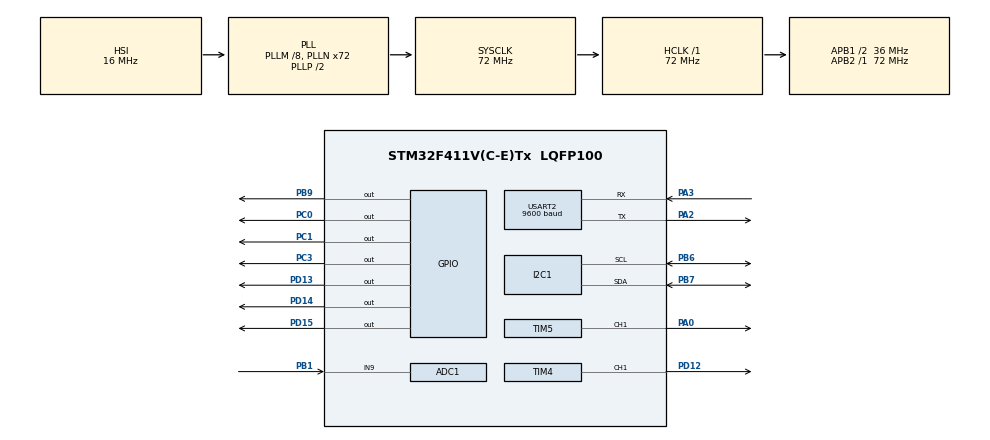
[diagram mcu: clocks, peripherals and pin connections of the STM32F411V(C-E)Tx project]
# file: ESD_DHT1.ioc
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ADC1.Channel-0\#ChannelRegularConversion=ADC_CHANNEL_9
ADC1.NbrOfConversionFlag=1
ADC1.Rank-0\#ChannelRegularConversion=1
ADC1.SamplingTime-0\#ChannelRegularConversion=ADC_SAMPLETIME_3CYCLES
ADC1.master=1
I2C1.I2C_Mode=I2C_Fast
Mcu.Family=STM32F4
Mcu.Name=STM32F411V(C-E)Tx
Mcu.Package=LQFP100
NVIC.PriorityGroup=NVIC_PRIORITYGROUP_4
NVIC.RTC_WKUP_IRQn=true\:0\:0\:false\:false\:true\:true\:true\:true
NVIC.TIM2_IRQn=true\:0\:0\:false\:false\:true\:true\:true\:true
NVIC.USART2_IRQn=true\:0\:0\:false\:false\:true\:true\:true\:true
PA0-WKUP.Signal=S_TIM5_CH1
PA13.Mode=Serial_Wire
PA13.Signal=SYS_JTMS-SWDIO
PA14.Mode=Serial_Wire
PA14.Signal=SYS_JTCK-SWCLK
PA2.Mode=Asynchronous
PA2.Signal=USART2_TX
PA3.GPIO_PuPd=GPIO_PULLUP
PA3.Mode=Asynchronous
PA3.Signal=USART2_RX
PB1.Signal=ADCx_IN9
PB6.Mode=I2C
PB6.Signal=I2C1_SCL
PB7.Mode=I2C
PB7.Signal=I2C1_SDA
PB9.Signal=GPIO_Output
PC0.Signal=GPIO_Output
PC1.Signal=GPIO_Output
PC3.Signal=GPIO_Output
PD12.Signal=S_TIM4_CH1
PD13.Signal=GPIO_Output
PD14.Signal=GPIO_Output
PD15.PinState=GPIO_PIN_SET
PD15.Signal=GPIO_Output
PH0\ -\ OSC_IN.Mode=HSE-External-Oscillator
PH0\ -\ OSC_IN.Signal=RCC_OSC_IN
PH1\ -\ OSC_OUT.Mode=HSE-External-Oscillator
PH1\ -\ OSC_OUT.Signal=RCC_OSC_OUT
ProjectManager.HeapSize=0x200
ProjectManager.StackSize=0x400
ProjectManager.TargetToolchain=STM32CubeIDE
RCC.48MHZClocksFreq_Value=36000000
RCC.AHBFreq_Value=72000000
RCC.APB1CLKDivider=RCC_HCLK_DIV2
RCC.APB1Freq_Value=36000000
RCC.APB1TimFreq_Value=72000000
RCC.APB2Freq_Value=72000000
RCC.APB2TimFreq_Value=72000000
RCC.CortexFreq_Value=72000000
RCC.HCLKFreq_Value=72000000
RCC.HSE_VALUE=25000000
RCC.HSI_VALUE=16000000
RCC.LSE_VALUE=32768
RCC.PLLM=8
RCC.PLLN=72
RCC.SYSCLKFreq_VALUE=72000000
RCC.SYSCLKSource=RCC_SYSCLKSOURCE_PLLCLK
RCC.VCOOutputFreq_Value=144000000
RTC.WakeUpCounter=0x500B
SH.ADCx_IN9.0=ADC1_IN9,IN9
SH.S_TIM4_CH1.0=TIM4_CH1,PWM Generation1 CH1
SH.S_TIM5_CH1.0=TIM5_CH1,PWM Generation1 CH1
TIM1.Prescaler=71
TIM2.Period=2000
TIM2.Prescaler=8000-1
TIM2.TIM_MasterOutputTrigger=TIM_TRGO_UPDATE
TIM3.Prescaler=72
TIM4.AutoReloadPreload=TIM_AUTORELOAD_PRELOAD_ENABLE
TIM4.Channel-PWM\ Generation1\ CH1=TIM_CHANNEL_1
TIM4.Period=511
TIM4.Prescaler=71
TIM4.Pulse-PWM\ Generation1\ CH1=0
TIM5.Channel-PWM\ Generation1\ CH1=TIM_CHANNEL_1
TIM5.Period=65535
TIM5.Prescaler=0
USART2.BaudRate=9600
USART2.VirtualMode=VM_ASYNC
VP_RTC_VS_RTC_Activate.Mode=RTC_Enabled
VP_RTC_VS_RTC_WakeUp_intern.Mode=WakeUp
VP_TIM1_VS_ClockSourceINT.Mode=Internal
VP_TIM2_VS_ClockSourceINT.Mode=Internal
VP_TIM3_VS_ClockSourceINT.Mode=Internal
VP_TIM4_VS_ClockSourceINT.Mode=Internal
VP_TIM5_VS_ClockSourceINT.Mode=Internal
board=custom

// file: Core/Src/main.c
/* USER CODE BEGIN Header */
/**
 ******************************************************************************
  MAIN function
 *
 * @File name (main.c of ESD PROJECT PROJECT: MOOD BASED AUTOMATION SYSTEM WITH
 * ENERGY OPTIMIZATION)
 * @File Description (-main function)
 * Initializing GPIOs, Timers, UART, I2C , ADC and RTC.UART_RxCpltCallback function is defined hereby for
 * receiving the commands inside the buffer.The mood system functio will handle the commands received from Bluetooth.
 * @Tools used	: STM32F411VET6
 * @Author Name (AYSWARIYA KANNAN & SHRINITHI VENKETESAN)
 * @Date (12/04/2022)
 *
 *
 ******************************************************************************
 * @attention
 *
 * Copyright (c) 2022 STMicroelectronics.
 * All rights reserved.
 *
 * This software is licensed under terms that can be found in the LICENSE file
 * in the root directory of this software component.
 * If no LICENSE file comes with this software, it is provided AS-IS.
 *
 ******************************************************************************
 */
/* USER CODE END Header */
#include "main.h"

/* USER CODE BEGIN Includes */

#include "dht11.h"
#include<stdio.h>
#include<string.h>
#include "SSD1306.h"
#include "fonts.h"
#include "FAN_ANIMATION.h"
#include "home_image.h"
#include "ldr.h"
#include "modeimages.h"
/* USER CODE END Includes */

ADC_HandleTypeDef hadc1;

I2C_HandleTypeDef hi2c1;

RTC_HandleTypeDef hrtc;

TIM_HandleTypeDef htim1;
TIM_HandleTypeDef htim2;
TIM_HandleTypeDef htim3;
TIM_HandleTypeDef htim4;
TIM_HandleTypeDef htim5;

UART_HandleTypeDef huart2;

void SystemClock_Config(void);
static void MX_GPIO_Init(void);
static void MX_TIM1_Init(void);
static void MX_TIM4_Init(void);
static void MX_TIM3_Init(void);
static void MX_TIM2_Init(void);
static void MX_USART2_UART_Init(void);
static void MX_I2C1_Init(void);
static void MX_TIM5_Init(void);
static void MX_ADC1_Init(void);
static void MX_RTC_Init(void);

/* USER CODE BEGIN 0 */
/**Macros DEF*************/

#define N1 (64)
#define N2 (68)
#define N3 (50)
#define N4 (20)
#define N5 (65)
#define N6 (45)
#define N7 (8)
#define N8 (30)
#define N9 (15)
#define N10 (66)
#define N11 (25)
#define N12 (12)
#define N13 (69)

#define FIVESEC (5000)
#define HUNSEC  (100)
#define BUFFERSIZE (60)
#define DEVADDRS (0x0A)
#define RTCTIME (0x500B)

/*** GLOBAL VARIABLES **********************************************************/
int flag=0;
int j,a;
int automode =0;
uint8_t rx;
char str1[BUFFERSIZE]={0};
float PWM1;
/***************************************************************************************/
/*
 * MOOD AUTOMATION function, which decides teh sequence of actions after receving any coomand through bluetooth.The set
 * of commands are: **"systemon" : for Auto mode
 *                  **"systemoff": for turning off all devices
 *                  **"sleep" : for sleep mode : fan speed normal and lights off
 *                  **"day" : for day mode : fan speed at maximum and lights off
 *                  **"work": for work mode : fan speed at high and lights on at maximum intensity
 *                  (ALL modes set with the assumption the climate of the place is warm and sunny during daytime and nominal
 *                  during night)
 *
 * Parameters: char str1[60]: buffer for storing bluetooth commands, which are processed here.
 *             float PWM1   : for controlling manual fan speed
 *
 * Return: NULL
 */
void mood_system(){
	a=0;
	HAL_Delay(N3);
	for(j=0;j<BUFFERSIZE;j++){

		if((str1[j]=='s')  &&  (str1[j+1]=='y')  &&  (str1[j+2]=='s')  &&  (str1[j+3]=='t')  &&  (str1[j+4]=='e') && (str1[j+5]=='m')  &&  (str1[j+6]=='o')  &&  (str1[j+7]=='n')){

			OLED_DrawBitmap(0,0,f1,N1,N1,1);
			OLED_UpdateScreen();
			OLED_Clear();
			OLED_DrawBitmap(0,0,f2,N1,N1,1);
			OLED_UpdateScreen();
			OLED_Clear();
			OLED_DrawBitmap(0,0,f3,N1,N1,1);
			OLED_UpdateScreen();
			OLED_Clear();
			OLED_DrawBitmap(0,0,f4,N1,N1,1);
			OLED_UpdateScreen();
			OLED_Clear();
			OLED_DrawBitmap(0,0,f5,N1,N1,1);
			OLED_UpdateScreen();
			OLED_Clear();
			OLED_DrawBitmap(0,0,f6,N1,N1,1);
			OLED_UpdateScreen();
			OLED_Clear();
			OLED_DrawBitmap(0,0,f7,N1,N1,1);
			OLED_UpdateScreen();
			OLED_Clear();
			OLED_DrawBitmap(0,0,f8,N1,N1,1);
			OLED_UpdateScreen();
			OLED_Clear();
			OLED_DrawBitmap(0,0,f1,N1,N1,1);
			OLED_UpdateScreen();
			OLED_Clear();
			OLED_DrawBitmap(0,0,f2,N1,N1,1);
			OLED_UpdateScreen();
			OLED_Clear();
			OLED_DrawBitmap(0,0,f3,N1,N1,1);
			OLED_UpdateScreen();
			OLED_Clear();
			OLED_DrawBitmap(0,0,f4,N1,N1,1);
			OLED_UpdateScreen();
			OLED_Clear();
			OLED_DrawBitmap(0,0,f5,N1,N1,1);
			OLED_UpdateScreen();
			OLED_Clear();
			OLED_DrawBitmap(0,0,f6,N1,N1,1);
			OLED_UpdateScreen();
			OLED_Clear();
			OLED_DrawBitmap(0,0,f7,N1,N1,1);
			OLED_UpdateScreen();
			OLED_Clear();
			OLED_DrawBitmap(0,0,f8,N1,N1,1);
			OLED_UpdateScreen();
			OLED_GotoXY (N5,N7); // goto 10, 10
			OLED_Puts ("SYSTEM ON", &Font_6x10, 1); // print Hello
			OLED_UpdateScreen(); // update screen
			OLED_GotoXY (N5,N8); // goto 10, 10
			OLED_Puts ("AUTO MODE", &Font_6x10, 1); // print Hello
			OLED_UpdateScreen();
            HAL_Delay(FIVESEC);
            OLED_Clear();

			fan_control_dht();
			ldr_pwm();
			for(j=0;j<BUFFERSIZE;j++){
				str1[j]=0;}
		}
		automode=1; //setting the auto mode active
	}

	for(j=0;j<BUFFERSIZE;j++){

		if((str1[j]=='s')  &&  (str1[j+1]=='y')  &&  (str1[j+2]=='s')  &&  (str1[j+3]=='t')  &&  (str1[j+4]=='e') && (str1[j+5]=='m')  &&  (str1[j+6]=='o')  &&  (str1[j+7]=='f') && (str1[j+8]=='f')){
			//HAL_Delay(1000);
			// HAL_GPIO_WritePin(GPIOD, GPIO_PIN_15,0);
			automode=0;
			__HAL_TIM_SET_COMPARE(&htim4, TIM_CHANNEL_1,0);
			OLED_Clear();
			OLED_GotoXY (N8,N7); // goto 10, 10
			OLED_Puts ("TURNING OFF ", &Font_6x10, 1); // print Hello
			OLED_UpdateScreen(); // update screen
		    OLED_DrawBitmap(N9,N4,off,N1,N3,1);
		    OLED_UpdateScreen();
			ldr_off();

			for(j=0;j<BUFFERSIZE;j++){str1[j]=0;}

		}}
	for(j=0;j<BUFFERSIZE;j++){
		if((str1[j]=='s')  &&  (str1[j+1]=='l')  &&  (str1[j+2]=='e')  &&  (str1[j+3]=='e')  &&  (str1[j+4]=='p')){
			automode=0;
			PWM1 = PWMODE1;
			__HAL_TIM_SET_COMPARE(&htim4, TIM_CHANNEL_1,PWM1*511);
			OLED_Clear();
			OLED_GotoXY (N10,N7); // goto 10, 10
			OLED_Puts ("SLEEP MODE", &Font_6x10, 1); // print Hello
			OLED_UpdateScreen(); // update screen
		    OLED_DrawBitmap(0,N12,zz,N1,N3,1);
			OLED_UpdateScreen();
			OLED_GotoXY (N10,N11); // goto 10, 10
			OLED_Puts ("Fan Normal", &Font_6x10, 1); // print Hello
			OLED_UpdateScreen();
			OLED_GotoXY (N10,N6); // goto 10, 10
			OLED_Puts ("Light OFF", &Font_6x10, 1); // print Hello
			OLED_UpdateScreen();
			ldr_sleep();
			for(j=0;j<BUFFERSIZE;j++){str1[j]=0;}

		}}
	for(j=0;j<BUFFERSIZE;j++){
		if((str1[j]=='d')  &&  (str1[j+1]=='a')  &&  (str1[j+2]=='y')){
			automode=0;
			PWM1 =PWMODE3;
			__HAL_TIM_SET_COMPARE(&htim4, TIM_CHANNEL_1,PWM1*MAXPWM);
			OLED_Clear();
			OLED_GotoXY (N13,N7); // goto 10, 10
			OLED_Puts ("DAY MODE", &Font_6x10, 1); // print Hello
			OLED_UpdateScreen(); // update screen
			OLED_DrawBitmap(0,N12,sun,N1,N3,1);
			OLED_UpdateScreen();
			OLED_GotoXY (N2,N11); // goto 10, 10
			OLED_Puts ("Fan MAX", &Font_6x10, 1); // print Hello
			OLED_UpdateScreen();
			OLED_GotoXY (N2,N6); // goto 10, 10
			OLED_Puts ("Light OFF", &Font_6x10, 1); // print Hello
			OLED_UpdateScreen();
			ldr_off();

			for(j=0;j<BUFFERSIZE;j++){str1[j]=0;}
		}}
	for(j=0;j<BUFFERSIZE;j++){
		if((str1[j]=='w')  &&  (str1[j+1]=='o')  &&  (str1[j+2]=='r')  &&  (str1[j+3]=='k') ){
			automode=0;
			PWM1 = PWMODE2;
			__HAL_TIM_SET_COMPARE(&htim4, TIM_CHANNEL_1,PWM1*MAXPWM);
			OLED_Clear();
			OLED_GotoXY (N13,N7); // goto 10, 10
			OLED_Puts ("WORK MODE", &Font_6x10, 1); // print Hello
			OLED_UpdateScreen(); // update screen
			OLED_DrawBitmap(0,N12,work,N1,N3,1);
			OLED_UpdateScreen();
			OLED_GotoXY (N2,N11); // goto 10, 10
			OLED_Puts ("Fan HIGH", &Font_6x10, 1); // print Hello
			OLED_UpdateScreen();
			OLED_GotoXY (N2,N6); // goto 10, 10
			OLED_Puts ("Light ON", &Font_6x10, 1); // print Hello
			OLED_UpdateScreen();
			ldr_on();

			for(j=0;j<BUFFERSIZE;j++){str1[j]=0;}
		}}
}
/*
 * HAL_UART_RxCpltCallback called when UART interrupt received which will be triggered by bluetooth interface
 * when we send any commands. the command received through rx is stored in char str1[] and flag set to 1, indicating bluetooth
 * command received
 *
 * Parameters: char str1[] to store commands
 *             int flag to indicate bluetooth
 *             uint8_t rx data from UART Rx
 *
 * Return: NULL
 */
void HAL_UART_RxCpltCallback(UART_HandleTypeDef *huart)
{
	//HAL_ResumeTick();
	HAL_PWR_DisableSleepOnExit ();
	if(huart==&huart2)
	{
		if(rx == DEVADDRS){
			flag=1;
		}
		str1[a]=rx;
		a++;
	}
	HAL_UART_Receive_IT(&huart2,&rx,1);
}
/* USER CODE END 0 */

/*
 * Main function: Low power mode :sleep mode is enabled so
 *  **After initializing GPIO,TIMERS, UART,ADC,I2C,RTC and PWM,the system will go back to sleepmode.
 *  **WFI(wakeupfrom interrupt)enabled thus it will resume once any interrupt received.
 *  ** Also RTC enabled to wakeup core every 10 sec(which can be altered according to user)
 *
 * Parameters: int automode :to check if auto mode settings enabled, if enabled it will recollect data
 *             int flag : to know if bluetooth command received or not
 *
 * Return:  returns 1 is successful
 */
int main(void)
{

  /* MCU Configuration--------------------------------------------------------*/

  /* Reset of all peripherals, Initializes the Flash interface and the Systick. */
  HAL_Init();

  /* Configure the system clock */
  SystemClock_Config();

  /* Initialize all configured peripherals */
  MX_GPIO_Init();
  MX_TIM1_Init();
  MX_TIM4_Init();
  MX_TIM3_Init();
  MX_TIM2_Init();
  MX_USART2_UART_Init();
  MX_I2C1_Init();
  MX_TIM5_Init();
  MX_ADC1_Init();
  MX_RTC_Init();
  /* USER CODE BEGIN 2 */
	OLED_Init (); // initialize the display
	OLED_GotoXY (N5,N7); // goto 10, 10
	OLED_Puts ("MOOD", &Font_6x10, 1); // print Hello
	OLED_GotoXY (N5, N4);
	OLED_Puts ("BASED", &Font_6x10, 1);
	OLED_UpdateScreen(); // update screen
	OLED_GotoXY (N5, 35);
	OLED_Puts ("HOME", &Font_6x10, 1);
	OLED_UpdateScreen(); // update screen
	OLED_GotoXY (N5,N3);
	OLED_Puts ("AUTOMATION", &Font_6x10, 1);
	OLED_UpdateScreen(); // update screen
	OLED_DrawBitmap(0,N7,home,N1,N1,1);
	OLED_UpdateScreen(); // update screen
	HAL_Delay(FIVESEC);
	OLED_Clear();

	HAL_UART_Receive_IT(&huart2,&rx,1);
	HAL_TIM_Base_Start_IT(&htim2);

	HAL_TIM_Base_Start(&htim1);
	HAL_TIM_Base_Start(&htim3);
	HAL_TIM_PWM_Start(&htim4,TIM_CHANNEL_1);
	HAL_TIM_PWM_Start(&htim5, TIM_CHANNEL_1);

  /* USER CODE END 2 */

  /* Infinite loop */
  /* USER CODE BEGIN WHILE */
	while (1)
	{
		if(automode==1){

			fan_control_dht();
			ldr_pwm();}
		HAL_GPIO_WritePin(GPIOD, GPIO_PIN_13, 1);

		HAL_SuspendTick();

		HAL_GPIO_WritePin(GPIOD, GPIO_PIN_13, 0);  // Just to indicate that the sleep mode is activated

		HAL_RTCEx_SetWakeUpTimer_IT(&hrtc, RTCTIME, RTC_WAKEUPCLOCK_RTCCLK_DIV16);
		HAL_PWR_EnableSleepOnExit ();

		//	  Enter Sleep Mode , wake up is done once User push-button is pressed
		HAL_PWR_EnterSLEEPMode(PWR_MAINREGULATOR_ON, PWR_SLEEPENTRY_WFI);

		HAL_RTCEx_DeactivateWakeUpTimer(&hrtc);

		SystemClock_Config();

		//	  Resume Tick interrupt if disabled prior to sleep mode entry
		HAL_ResumeTick();

		for (int i=0; i<N4; i++)
		{
			HAL_GPIO_TogglePin(GPIOD, GPIO_PIN_13);
			HAL_Delay(HUNSEC);
		}

		if(flag==1)
		{
			mood_system();
			flag=0;}

    /* USER CODE END WHILE */

	}
}

void SystemClock_Config(void)
{
  RCC_OscInitTypeDef RCC_OscInitStruct = {0};
  RCC_ClkInitTypeDef RCC_ClkInitStruct = {0};

  /** Configure the main internal regulator output voltage
  */
  __HAL_RCC_PWR_CLK_ENABLE();
  __HAL_PWR_VOLTAGESCALING_CONFIG(PWR_REGULATOR_VOLTAGE_SCALE1);

  /** Initializes the RCC Oscillators according to the specified parameters
  * in the RCC_OscInitTypeDef structure.
  */
  RCC_OscInitStruct.OscillatorType = RCC_OSCILLATORTYPE_HSI|RCC_OSCILLATORTYPE_LSI;
  RCC_OscInitStruct.HSIState = RCC_HSI_ON;
  RCC_OscInitStruct.HSICalibrationValue = RCC_HSICALIBRATION_DEFAULT;
  RCC_OscInitStruct.LSIState = RCC_LSI_ON;
  RCC_OscInitStruct.PLL.PLLState = RCC_PLL_ON;
  RCC_OscInitStruct.PLL.PLLSource = RCC_PLLSOURCE_HSI;
  RCC_OscInitStruct.PLL.PLLM = 8;
  RCC_OscInitStruct.PLL.PLLN = 72;
  RCC_OscInitStruct.PLL.PLLP = RCC_PLLP_DIV2;
  RCC_OscInitStruct.PLL.PLLQ = 4;
  if (HAL_RCC_OscConfig(&RCC_OscInitStruct) != HAL_OK)
  {
    Error_Handler();
  }

  /** Initializes the CPU, AHB and APB buses clocks
  */
  RCC_ClkInitStruct.ClockType = RCC_CLOCKTYPE_HCLK|RCC_CLOCKTYPE_SYSCLK
                              |RCC_CLOCKTYPE_PCLK1|RCC_CLOCKTYPE_PCLK2;
  RCC_ClkInitStruct.SYSCLKSource = RCC_SYSCLKSOURCE_PLLCLK;
  RCC_ClkInitStruct.AHBCLKDivider = RCC_SYSCLK_DIV1;
  RCC_ClkInitStruct.APB1CLKDivider = RCC_HCLK_DIV2;
  RCC_ClkInitStruct.APB2CLKDivider = RCC_HCLK_DIV1;

  if (HAL_RCC_ClockConfig(&RCC_ClkInitStruct, FLASH_LATENCY_2) != HAL_OK)
  {
    Error_Handler();
  }
}

static void MX_ADC1_Init(void)
{

  ADC_ChannelConfTypeDef sConfig = {0};

  /** Configure the global features of the ADC (Clock, Resolution, Data Alignment and number of conversion)
  */
  hadc1.Instance = ADC1;
  hadc1.Init.ClockPrescaler = ADC_CLOCK_SYNC_PCLK_DIV2;
  hadc1.Init.Resolution = ADC_RESOLUTION_12B;
  hadc1.Init.ScanConvMode = DISABLE;
  hadc1.Init.ContinuousConvMode = DISABLE;
  hadc1.Init.DiscontinuousConvMode = DISABLE;
  hadc1.Init.ExternalTrigConvEdge = ADC_EXTERNALTRIGCONVEDGE_NONE;
  hadc1.Init.ExternalTrigConv = ADC_SOFTWARE_START;
  hadc1.Init.DataAlign = ADC_DATAALIGN_RIGHT;
  hadc1.Init.NbrOfConversion = 1;
  hadc1.Init.DMAContinuousRequests = DISABLE;
  hadc1.Init.EOCSelection = ADC_EOC_SINGLE_CONV;
  if (HAL_ADC_Init(&hadc1) != HAL_OK)
  {
    Error_Handler();
  }

  /** Configure for the selected ADC regular channel its corresponding rank in the sequencer and its sample time.
  */
  sConfig.Channel = ADC_CHANNEL_9;
  sConfig.Rank = 1;
  sConfig.SamplingTime = ADC_SAMPLETIME_3CYCLES;
  if (HAL_ADC_ConfigChannel(&hadc1, &sConfig) != HAL_OK)
  {
    Error_Handler();
  }

}

static void MX_I2C1_Init(void)
{

  hi2c1.Instance = I2C1;
  hi2c1.Init.ClockSpeed = 400000;
  hi2c1.Init.DutyCycle = I2C_DUTYCYCLE_2;
  hi2c1.Init.OwnAddress1 = 0;
  hi2c1.Init.AddressingMode = I2C_ADDRESSINGMODE_7BIT;
  hi2c1.Init.DualAddressMode = I2C_DUALADDRESS_DISABLE;
  hi2c1.Init.OwnAddress2 = 0;
  hi2c1.Init.GeneralCallMode = I2C_GENERALCALL_DISABLE;
  hi2c1.Init.NoStretchMode = I2C_NOSTRETCH_DISABLE;
  if (HAL_I2C_Init(&hi2c1) != HAL_OK)
  {
    Error_Handler();
  }

}

static void MX_RTC_Init(void)
{

  RTC_TimeTypeDef sTime = {0};
  RTC_DateTypeDef sDate = {0};

  /** Initialize RTC Only
  */
  hrtc.Instance = RTC;
  hrtc.Init.HourFormat = RTC_HOURFORMAT_24;
  hrtc.Init.AsynchPrediv = 127;
  hrtc.Init.SynchPrediv = 255;
  hrtc.Init.OutPut = RTC_OUTPUT_DISABLE;
  hrtc.Init.OutPutPolarity = RTC_OUTPUT_POLARITY_HIGH;
  hrtc.Init.OutPutType = RTC_OUTPUT_TYPE_OPENDRAIN;
  if (HAL_RTC_Init(&hrtc) != HAL_OK)
  {
    Error_Handler();
  }

  /** Initialize RTC and set the Time and Date
  */
  sTime.Hours = 0x0;
  sTime.Minutes = 0x0;
  sTime.Seconds = 0x0;
  sTime.DayLightSaving = RTC_DAYLIGHTSAVING_NONE;
  sTime.StoreOperation = RTC_STOREOPERATION_RESET;
  if (HAL_RTC_SetTime(&hrtc, &sTime, RTC_FORMAT_BCD) != HAL_OK)
  {
    Error_Handler();
  }
  sDate.WeekDay = RTC_WEEKDAY_MONDAY;
  sDate.Month = RTC_MONTH_JANUARY;
  sDate.Date = 0x1;
  sDate.Year = 0x0;

  if (HAL_RTC_SetDate(&hrtc, &sDate, RTC_FORMAT_BCD) != HAL_OK)
  {
    Error_Handler();
  }

  /** Enable the WakeUp
  */
  if (HAL_RTCEx_SetWakeUpTimer_IT(&hrtc, 0x500B, RTC_WAKEUPCLOCK_RTCCLK_DIV16) != HAL_OK)
  {
    Error_Handler();
  }

}

static void MX_TIM1_Init(void)
{

  TIM_ClockConfigTypeDef sClockSourceConfig = {0};
  TIM_MasterConfigTypeDef sMasterConfig = {0};

  htim1.Instance = TIM1;
  htim1.Init.Prescaler = 71;
  htim1.Init.CounterMode = TIM_COUNTERMODE_UP;
  htim1.Init.Period = 65535;
  htim1.Init.ClockDivision = TIM_CLOCKDIVISION_DIV1;
  htim1.Init.RepetitionCounter = 0;
  htim1.Init.AutoReloadPreload = TIM_AUTORELOAD_PRELOAD_DISABLE;
  if (HAL_TIM_Base_Init(&htim1) != HAL_OK)
  {
    Error_Handler();
  }
  sClockSourceConfig.ClockSource = TIM_CLOCKSOURCE_INTERNAL;
  if (HAL_TIM_ConfigClockSource(&htim1, &sClockSourceConfig) != HAL_OK)
  {
    Error_Handler();
  }
  sMasterConfig.MasterOutputTrigger = TIM_TRGO_RESET;
  sMasterConfig.MasterSlaveMode = TIM_MASTERSLAVEMODE_DISABLE;
  if (HAL_TIMEx_MasterConfigSynchronization(&htim1, &sMasterConfig) != HAL_OK)
  {
    Error_Handler();
  }

}

static void MX_TIM2_Init(void)
{

  TIM_ClockConfigTypeDef sClockSourceConfig = {0};
  TIM_MasterConfigTypeDef sMasterConfig = {0};

  htim2.Instance = TIM2;
  htim2.Init.Prescaler = 8000-1;
  htim2.Init.CounterMode = TIM_COUNTERMODE_UP;
  htim2.Init.Period = 2000;
  htim2.Init.ClockDivision = TIM_CLOCKDIVISION_DIV1;
  htim2.Init.AutoReloadPreload = TIM_AUTORELOAD_PRELOAD_DISABLE;
  if (HAL_TIM_Base_Init(&htim2) != HAL_OK)
  {
    Error_Handler();
  }
  sClockSourceConfig.ClockSource = TIM_CLOCKSOURCE_INTERNAL;
  if (HAL_TIM_ConfigClockSource(&htim2, &sClockSourceConfig) != HAL_OK)
  {
    Error_Handler();
  }
  sMasterConfig.MasterOutputTrigger = TIM_TRGO_UPDATE;
  sMasterConfig.MasterSlaveMode = TIM_MASTERSLAVEMODE_DISABLE;
  if (HAL_TIMEx_MasterConfigSynchronization(&htim2, &sMasterConfig) != HAL_OK)
  {
    Error_Handler();
  }

}

static void MX_TIM3_Init(void)
{

  TIM_ClockConfigTypeDef sClockSourceConfig = {0};
  TIM_MasterConfigTypeDef sMasterConfig = {0};

  htim3.Instance = TIM3;
  htim3.Init.Prescaler = 72;
  htim3.Init.CounterMode = TIM_COUNTERMODE_UP;
  htim3.Init.Period = 65535;
  htim3.Init.ClockDivision = TIM_CLOCKDIVISION_DIV1;
  htim3.Init.AutoReloadPreload = TIM_AUTORELOAD_PRELOAD_DISABLE;
  if (HAL_TIM_Base_Init(&htim3) != HAL_OK)
  {
    Error_Handler();
  }
  sClockSourceConfig.ClockSource = TIM_CLOCKSOURCE_INTERNAL;
  if (HAL_TIM_ConfigClockSource(&htim3, &sClockSourceConfig) != HAL_OK)
  {
    Error_Handler();
  }
  sMasterConfig.MasterOutputTrigger = TIM_TRGO_RESET;
  sMasterConfig.MasterSlaveMode = TIM_MASTERSLAVEMODE_DISABLE;
  if (HAL_TIMEx_MasterConfigSynchronization(&htim3, &sMasterConfig) != HAL_OK)
  {
    Error_Handler();
  }

}

static void MX_TIM4_Init(void)
{

  TIM_ClockConfigTypeDef sClockSourceConfig = {0};
  TIM_MasterConfigTypeDef sMasterConfig = {0};
  TIM_OC_InitTypeDef sConfigOC = {0};

  htim4.Instance = TIM4;
  htim4.Init.Prescaler = 71;
  htim4.Init.CounterMode = TIM_COUNTERMODE_UP;
  htim4.Init.Period = 511;
  htim4.Init.ClockDivision = TIM_CLOCKDIVISION_DIV1;
  htim4.Init.AutoReloadPreload = TIM_AUTORELOAD_PRELOAD_ENABLE;
  if (HAL_TIM_Base_Init(&htim4) != HAL_OK)
  {
    Error_Handler();
  }
  sClockSourceConfig.ClockSource = TIM_CLOCKSOURCE_INTERNAL;
  if (HAL_TIM_ConfigClockSource(&htim4, &sClockSourceConfig) != HAL_OK)
  {
    Error_Handler();
  }
  if (HAL_TIM_PWM_Init(&htim4) != HAL_OK)
  {
    Error_Handler();
  }
  sMasterConfig.MasterOutputTrigger = TIM_TRGO_RESET;
  sMasterConfig.MasterSlaveMode = TIM_MASTERSLAVEMODE_DISABLE;
  if (HAL_TIMEx_MasterConfigSynchronization(&htim4, &sMasterConfig) != HAL_OK)
  {
    Error_Handler();
  }
  sConfigOC.OCMode = TIM_OCMODE_PWM1;
  sConfigOC.Pulse = 0;
  sConfigOC.OCPolarity = TIM_OCPOLARITY_HIGH;
  sConfigOC.OCFastMode = TIM_OCFAST_DISABLE;
  if (HAL_TIM_PWM_ConfigChannel(&htim4, &sConfigOC, TIM_CHANNEL_1) != HAL_OK)
  {
    Error_Handler();
  }
  HAL_TIM_MspPostInit(&htim4);

}

static void MX_TIM5_Init(void)
{

  TIM_ClockConfigTypeDef sClockSourceConfig = {0};
  TIM_MasterConfigTypeDef sMasterConfig = {0};
  TIM_OC_InitTypeDef sConfigOC = {0};

  htim5.Instance = TIM5;
  htim5.Init.Prescaler = 0;
  htim5.Init.CounterMode = TIM_COUNTERMODE_UP;
  htim5.Init.Period = 65535;
  htim5.Init.ClockDivision = TIM_CLOCKDIVISION_DIV1;
  htim5.Init.AutoReloadPreload = TIM_AUTORELOAD_PRELOAD_DISABLE;
  if (HAL_TIM_Base_Init(&htim5) != HAL_OK)
  {
    Error_Handler();
  }
  sClockSourceConfig.ClockSource = TIM_CLOCKSOURCE_INTERNAL;
  if (HAL_TIM_ConfigClockSource(&htim5, &sClockSourceConfig) != HAL_OK)
  {
    Error_Handler();
  }
  if (HAL_TIM_PWM_Init(&htim5) != HAL_OK)
  {
    Error_Handler();
  }
  sMasterConfig.MasterOutputTrigger = TIM_TRGO_RESET;
  sMasterConfig.MasterSlaveMode = TIM_MASTERSLAVEMODE_DISABLE;
  if (HAL_TIMEx_MasterConfigSynchronization(&htim5, &sMasterConfig) != HAL_OK)
  {
    Error_Handler();
  }
  sConfigOC.OCMode = TIM_OCMODE_PWM1;
  sConfigOC.Pulse = 0;
  sConfigOC.OCPolarity = TIM_OCPOLARITY_HIGH;
  sConfigOC.OCFastMode = TIM_OCFAST_DISABLE;
  if (HAL_TIM_PWM_ConfigChannel(&htim5, &sConfigOC, TIM_CHANNEL_1) != HAL_OK)
  {
    Error_Handler();
  }
  HAL_TIM_MspPostInit(&htim5);

}

static void MX_USART2_UART_Init(void)
{

  huart2.Instance = USART2;
  huart2.Init.BaudRate = 9600;
  huart2.Init.WordLength = UART_WORDLENGTH_8B;
  huart2.Init.StopBits = UART_STOPBITS_1;
  huart2.Init.Parity = UART_PARITY_NONE;
  huart2.Init.Mode = UART_MODE_TX_RX;
  huart2.Init.HwFlowCtl = UART_HWCONTROL_NONE;
  huart2.Init.OverSampling = UART_OVERSAMPLING_16;
  if (HAL_UART_Init(&huart2) != HAL_OK)
  {
    Error_Handler();
  }

}

static void MX_GPIO_Init(void)
{
  GPIO_InitTypeDef GPIO_InitStruct = {0};

  /* GPIO Ports Clock Enable */
  __HAL_RCC_GPIOH_CLK_ENABLE();
  __HAL_RCC_GPIOC_CLK_ENABLE();
  __HAL_RCC_GPIOA_CLK_ENABLE();
  __HAL_RCC_GPIOB_CLK_ENABLE();
  __HAL_RCC_GPIOD_CLK_ENABLE();

  /*Configure GPIO pin Output Level */
  HAL_GPIO_WritePin(GPIOC, GPIO_PIN_0|GPIO_PIN_1|GPIO_PIN_3, GPIO_PIN_RESET);

  /*Configure GPIO pin Output Level */
  HAL_GPIO_WritePin(GPIOD, GPIO_PIN_13|GPIO_PIN_14, GPIO_PIN_RESET);

  /*Configure GPIO pin Output Level */
  HAL_GPIO_WritePin(GPIOD, GPIO_PIN_15, GPIO_PIN_SET);

  /*Configure GPIO pin Output Level */
  HAL_GPIO_WritePin(GPIOB, GPIO_PIN_9, GPIO_PIN_RESET);

  /*Configure GPIO pins : PC0 PC1 PC3 */
  GPIO_InitStruct.Pin = GPIO_PIN_0|GPIO_PIN_1|GPIO_PIN_3;
  GPIO_InitStruct.Mode = GPIO_MODE_OUTPUT_PP;
  GPIO_InitStruct.Pull = GPIO_NOPULL;
  GPIO_InitStruct.Speed = GPIO_SPEED_FREQ_LOW;
  HAL_GPIO_Init(GPIOC, &GPIO_InitStruct);

  /*Configure GPIO pins : PD13 PD14 PD15 */
  GPIO_InitStruct.Pin = GPIO_PIN_13|GPIO_PIN_14|GPIO_PIN_15;
  GPIO_InitStruct.Mode = GPIO_MODE_OUTPUT_PP;
  GPIO_InitStruct.Pull = GPIO_NOPULL;
  GPIO_InitStruct.Speed = GPIO_SPEED_FREQ_LOW;
  HAL_GPIO_Init(GPIOD, &GPIO_InitStruct);

  /*Configure GPIO pin : PB9 */
  GPIO_InitStruct.Pin = GPIO_PIN_9;
  GPIO_InitStruct.Mode = GPIO_MODE_OUTPUT_PP;
  GPIO_InitStruct.Pull = GPIO_NOPULL;
  GPIO_InitStruct.Speed = GPIO_SPEED_FREQ_LOW;
  HAL_GPIO_Init(GPIOB, &GPIO_InitStruct);

}

void Error_Handler(void)
{
	__disable_irq();
	while (1)
	{
	}
}
